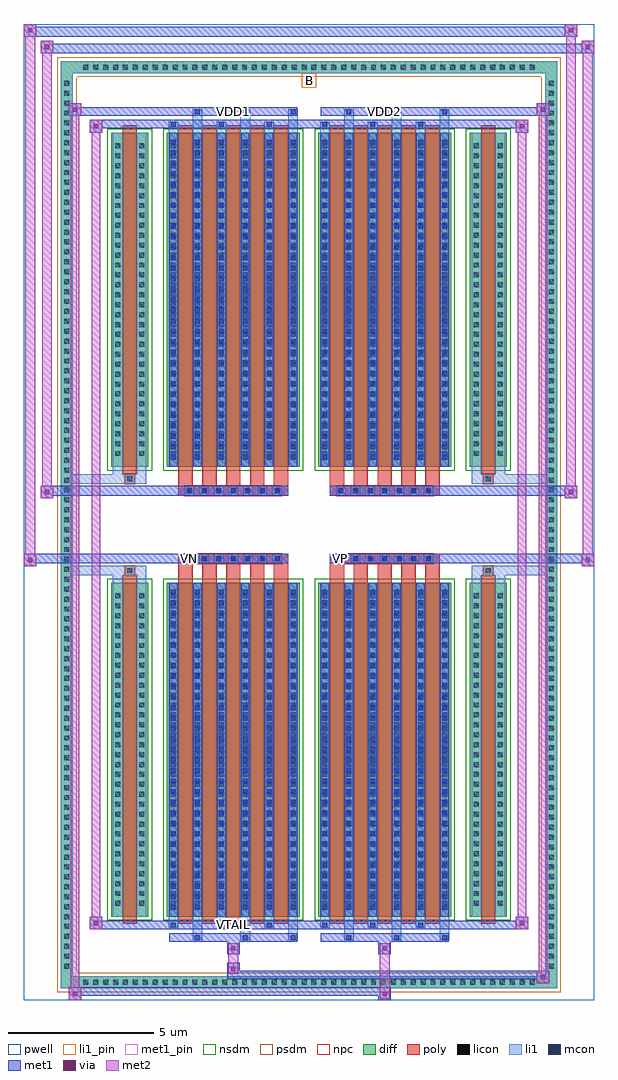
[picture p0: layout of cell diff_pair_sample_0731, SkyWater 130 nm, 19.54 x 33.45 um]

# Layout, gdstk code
import gdstk
lib = gdstk.Library(unit=1e-6, precision=5e-09)
def R(c, l, rs):  # rectangles x0, y0, x1, y1
    for r in rs: c.add(gdstk.rectangle(r[:2], r[2:], *l))
def A(c, l, x, y, w, h, nx, ny, dx, dy):  # array of equal rectangles
    R(c, l, [(x+i*dx, y+j*dy, x+i*dx+w, y+j*dy+h) for i in range(nx) for j in range(ny)])
def P(c, l, *ps):  # polygons
    for p in ps: c.add(gdstk.Polygon(p, *l))
pwell = (64, 44)
diff = (65, 20)
poly = (66, 20)
licon = (66, 44)
li1_pin = (67, 16)
li1 = (67, 20)
mcon = (67, 44)
met1_pin = (68, 16)
met1 = (68, 20)
via = (68, 44)
met2 = (69, 20)
nsdm = (93, 44)
psdm = (94, 20)
npc = (95, 20)

diff_pair_sample_0731 = lib.new_cell('diff_pair_sample_0731')
R(diff_pair_sample_0731, pwell, [(-9.77,-16.29,9.77,17.16), (-7.09,-14.48,-0.01,-0.8), (0.01,-14.48,7.09,-0.8), (-7.09,0.8,-0.01,14.48), (0.01,0.8,7.09,14.48)])
A(diff_pair_sample_0731, diff, -7.855, -15.89, 0.41, 0.41, 46, 2, 0.34, 31.37)
A(diff_pair_sample_0731, diff, -8.5, -15.335, 0.41, 0.41, 1, 90, 0, 0.34)
A(diff_pair_sample_0731, diff, 8.09, -15.335, 0.41, 0.41, 1, 90, 0, 0.34)
R(diff_pair_sample_0731, diff, [(-7.855,-15.89,7.855,-15.48), (-8.5,-15.335,-8.09,15.335), (8.09,-15.335,8.5,15.335), (-6.78,-13.435,-5.51,-1.985), (-4.87,-13.435,-0.32,-1.985), (0.32,-13.435,4.87,-1.985), (5.51,-13.435,6.78,-1.985), (-6.78,1.985,-5.51,13.435), (-4.87,1.985,-0.32,13.435), (0.32,1.985,4.87,13.435), (5.51,1.985,6.78,13.435), (-7.855,15.48,7.855,15.89)])
P(diff_pair_sample_0731, diff, [(8.5,15.89),(-8.5,15.89),(-8.5,-15.48),(-8.09,-15.48),(-8.09,15.48),(8.09,15.48),(8.09,-15.48),(-8.09,-15.48),(-8.5,-15.48),(-8.5,-15.89),(8.5,-15.89)])
A(diff_pair_sample_0731, poly, -4.48, -13.685, 0.49, 11.95, 5, 2, 0.82, 15.42)
A(diff_pair_sample_0731, poly, 0.71, -13.685, 0.49, 11.95, 5, 2, 0.82, 15.42)
A(diff_pair_sample_0731, poly, -4.48, -1.735, 0.49, 0.405, 5, 2, 0.82, 3.065)
A(diff_pair_sample_0731, poly, 0.71, -1.735, 0.49, 0.405, 5, 2, 0.82, 3.065)
A(diff_pair_sample_0731, poly, -4.26, -1.33, 0.33, 0.33, 7, 2, 0.5, 2.33)
A(diff_pair_sample_0731, poly, 0.93, -1.33, 0.33, 0.33, 7, 2, 0.5, 2.33)
R(diff_pair_sample_0731, poly, [(-6.39,-13.685,-5.9,-1.735), (5.9,-13.685,6.39,-1.735), (-6.31,-1.735,-5.98,-1.405), (-6.31,-1.735,-5.98,-1.405), (5.98,-1.735,6.31,-1.405), (5.98,-1.735,6.31,-1.405), (-4.48,-1.33,-0.71,-1), (0.71,-1.33,4.48,-1), (-4.48,1,-0.71,1.33), (0.71,1,4.48,1.33), (-6.31,1.405,-5.98,1.735), (-6.31,1.405,-5.98,1.735), (5.98,1.405,6.31,1.735), (5.98,1.405,6.31,1.735), (-6.39,1.735,-5.9,13.685), (5.9,1.735,6.39,13.685)])
A(diff_pair_sample_0731, licon, -7.735, -15.77, 0.17, 0.17, 46, 2, 0.34, 31.37)
A(diff_pair_sample_0731, licon, -8.38, -15.215, 0.17, 0.17, 1, 90, 0, 0.34)
A(diff_pair_sample_0731, licon, 8.21, -15.215, 0.17, 0.17, 1, 90, 0, 0.34)
A(diff_pair_sample_0731, licon, -6.64, -13.065, 0.17, 0.17, 1, 32, 0, 0.34)
A(diff_pair_sample_0731, licon, -5.82, -13.065, 0.17, 0.17, 1, 32, 0, 0.34)
A(diff_pair_sample_0731, licon, -4.73, -13.065, 0.17, 0.17, 6, 32, 0.82, 0.34)
A(diff_pair_sample_0731, licon, 0.46, -13.065, 0.17, 0.17, 6, 32, 0.82, 0.34)
A(diff_pair_sample_0731, licon, 5.65, -13.065, 0.17, 0.17, 1, 32, 0, 0.34)
A(diff_pair_sample_0731, licon, 6.47, -13.065, 0.17, 0.17, 1, 32, 0, 0.34)
A(diff_pair_sample_0731, licon, -4.18, -1.25, 0.17, 0.17, 7, 2, 0.5, 2.33)
A(diff_pair_sample_0731, licon, 1.01, -1.25, 0.17, 0.17, 7, 2, 0.5, 2.33)
A(diff_pair_sample_0731, licon, -6.64, 2.355, 0.17, 0.17, 1, 32, 0, 0.34)
A(diff_pair_sample_0731, licon, -5.82, 2.355, 0.17, 0.17, 1, 32, 0, 0.34)
A(diff_pair_sample_0731, licon, -4.73, 2.355, 0.17, 0.17, 6, 32, 0.82, 0.34)
A(diff_pair_sample_0731, licon, 0.46, 2.355, 0.17, 0.17, 6, 32, 0.82, 0.34)
A(diff_pair_sample_0731, licon, 5.65, 2.355, 0.17, 0.17, 1, 32, 0, 0.34)
A(diff_pair_sample_0731, licon, 6.47, 2.355, 0.17, 0.17, 1, 32, 0, 0.34)
R(diff_pair_sample_0731, licon, [(-6.23,-1.655,-6.06,-1.485), (6.06,-1.655,6.23,-1.485), (-6.23,1.485,-6.06,1.655), (6.06,1.485,6.23,1.655)])
R(diff_pair_sample_0731, li1_pin, [(-0.25,14.98,0.25,15.48)])
A(diff_pair_sample_0731, li1, -7.815, -15.85, 0.33, 0.33, 46, 2, 0.34, 31.37)
A(diff_pair_sample_0731, li1, -8.46, -15.295, 0.33, 0.33, 1, 90, 0, 0.34)
A(diff_pair_sample_0731, li1, 8.13, -15.295, 0.33, 0.33, 1, 90, 0, 0.34)
A(diff_pair_sample_0731, li1, -3.99, -14.24, 0.33, 0.805, 3, 2, 1.64, 27.675)
A(diff_pair_sample_0731, li1, -3.91, -14.24, 0.17, 0.17, 3, 2, 1.64, 28.31)
A(diff_pair_sample_0731, li1, 1.2, -14.24, 0.33, 0.805, 3, 2, 1.64, 27.675)
A(diff_pair_sample_0731, li1, 1.28, -14.24, 0.17, 0.17, 3, 2, 1.64, 28.31)
A(diff_pair_sample_0731, li1, -4.81, -13.81, 0.33, 0.375, 3, 2, 1.64, 27.245)
A(diff_pair_sample_0731, li1, -4.73, -13.81, 0.17, 0.17, 3, 2, 1.64, 27.45)
A(diff_pair_sample_0731, li1, 0.38, -13.81, 0.33, 0.375, 3, 2, 1.64, 27.245)
A(diff_pair_sample_0731, li1, 0.46, -13.81, 0.17, 0.17, 3, 2, 1.64, 27.45)
A(diff_pair_sample_0731, li1, -4.81, -13.435, 0.33, 11.45, 6, 2, 0.82, 15.42)
A(diff_pair_sample_0731, li1, 0.38, -13.435, 0.33, 11.45, 6, 2, 0.82, 15.42)
A(diff_pair_sample_0731, li1, -4.73, -13.195, 0.17, 0.17, 6, 31, 0.82, 0.36)
A(diff_pair_sample_0731, li1, -4.73, -13.195, 0.17, 10.97, 6, 2, 0.82, 15.42)
A(diff_pair_sample_0731, li1, 0.46, -13.195, 0.17, 0.17, 6, 31, 0.82, 0.36)
A(diff_pair_sample_0731, li1, 0.46, -13.195, 0.17, 10.97, 6, 2, 0.82, 15.42)
A(diff_pair_sample_0731, li1, -6.72, -13.145, 0.33, 0.33, 1, 32, 0, 0.34)
A(diff_pair_sample_0731, li1, -5.9, -13.145, 0.33, 0.33, 1, 32, 0, 0.34)
A(diff_pair_sample_0731, li1, -4.81, -13.145, 0.33, 0.33, 6, 32, 0.82, 0.34)
A(diff_pair_sample_0731, li1, 0.38, -13.145, 0.33, 0.33, 6, 32, 0.82, 0.34)
A(diff_pair_sample_0731, li1, 5.57, -13.145, 0.33, 0.33, 1, 32, 0, 0.34)
A(diff_pair_sample_0731, li1, 6.39, -13.145, 0.33, 0.33, 1, 32, 0, 0.34)
A(diff_pair_sample_0731, li1, -4.26, -1.33, 0.33, 0.33, 7, 2, 0.5, 2.33)
A(diff_pair_sample_0731, li1, 0.93, -1.33, 0.33, 0.33, 7, 2, 0.5, 2.33)
A(diff_pair_sample_0731, li1, -4.73, 2.225, 0.17, 0.17, 6, 31, 0.82, 0.36)
A(diff_pair_sample_0731, li1, 0.46, 2.225, 0.17, 0.17, 6, 31, 0.82, 0.36)
A(diff_pair_sample_0731, li1, -6.72, 2.275, 0.33, 0.33, 1, 32, 0, 0.34)
A(diff_pair_sample_0731, li1, -5.9, 2.275, 0.33, 0.33, 1, 32, 0, 0.34)
A(diff_pair_sample_0731, li1, -4.81, 2.275, 0.33, 0.33, 6, 32, 0.82, 0.34)
A(diff_pair_sample_0731, li1, 0.38, 2.275, 0.33, 0.33, 6, 32, 0.82, 0.34)
A(diff_pair_sample_0731, li1, 5.57, 2.275, 0.33, 0.33, 1, 32, 0, 0.34)
A(diff_pair_sample_0731, li1, 6.39, 2.275, 0.33, 0.33, 1, 32, 0, 0.34)
R(diff_pair_sample_0731, li1, [(-8.5,-15.89,-8.09,-15.48), (-8.5,-15.89,-8.09,-15.48), (-8.09,-15.89,8.09,-15.48), (8.09,-15.89,8.5,-15.48), (8.09,-15.89,8.5,-15.48), (-8.5,-15.48,-8.09,15.48), (8.09,-15.48,8.5,15.48), (-6.72,-13.435,-6.39,-1.985), (-5.9,-13.435,-5.57,-1.985), (5.57,-13.435,5.9,-1.985), (6.39,-13.435,6.72,-1.985), (-6.72,-1.985,-6.39,-1.405), (-5.9,-1.985,-5.57,-1.405), (5.57,-1.985,5.9,-1.405), (6.39,-1.985,6.72,-1.405), (-8.5,-1.735,-6.31,-1.405), (-6.72,-1.735,-6.31,-1.405), (-6.31,-1.735,-5.98,-1.405), (-5.98,-1.735,-5.57,-1.405), (5.57,-1.735,5.98,-1.405), (5.98,-1.735,6.31,-1.405), (5.98,-1.735,8.5,-1.405), (6.31,-1.735,6.72,-1.405), (-8.5,1.405,-6.31,1.735), (-6.72,1.405,-6.31,1.735), (-6.72,1.405,-6.39,1.985), (-6.31,1.405,-5.98,1.735), (-5.98,1.405,-5.57,1.735), (-5.9,1.405,-5.57,1.985), (5.57,1.405,5.98,1.735), (5.57,1.405,5.9,1.985), (5.98,1.405,6.31,1.735), (5.98,1.405,8.5,1.735), (6.31,1.405,6.72,1.735), (6.39,1.405,6.72,1.985), (-6.72,1.985,-6.39,13.435), (-5.9,1.985,-5.57,13.435), (5.57,1.985,5.9,13.435), (6.39,1.985,6.72,13.435), (-8.5,15.48,-8.09,15.89), (-8.5,15.48,-8.09,15.89), (-8.09,15.48,8.09,15.89), (8.09,15.48,8.5,15.89), (8.09,15.48,8.5,15.89)])
A(diff_pair_sample_0731, mcon, -3.91, -14.24, 0.17, 0.17, 3, 2, 1.64, 28.31)
A(diff_pair_sample_0731, mcon, 1.28, -14.24, 0.17, 0.17, 3, 2, 1.64, 28.31)
A(diff_pair_sample_0731, mcon, -4.73, -13.81, 0.17, 0.17, 3, 2, 1.64, 27.45)
A(diff_pair_sample_0731, mcon, 0.46, -13.81, 0.17, 0.17, 3, 2, 1.64, 27.45)
A(diff_pair_sample_0731, mcon, -4.73, -13.195, 0.17, 0.17, 6, 31, 0.82, 0.36)
A(diff_pair_sample_0731, mcon, 0.46, -13.195, 0.17, 0.17, 6, 31, 0.82, 0.36)
A(diff_pair_sample_0731, mcon, -4.18, -1.25, 0.17, 0.17, 7, 2, 0.5, 2.33)
A(diff_pair_sample_0731, mcon, 1.01, -1.25, 0.17, 0.17, 7, 2, 0.5, 2.33)
A(diff_pair_sample_0731, mcon, -4.73, 2.225, 0.17, 0.17, 6, 31, 0.82, 0.36)
A(diff_pair_sample_0731, mcon, 0.46, 2.225, 0.17, 0.17, 6, 31, 0.82, 0.36)
R(diff_pair_sample_0731, met1_pin, [(-2.73,-13.85,-2.46,-13.58), (-4.23,-1.29,-3.96,-1.02), (0.96,-1.29,1.23,-1.02), (-2.73,14.03,-2.46,14.3), (2.46,14.03,2.73,14.3)])
A(diff_pair_sample_0731, met1, -3.97, -14.3, 0.29, 0.29, 3, 2, 1.64, 28.31)
A(diff_pair_sample_0731, met1, 1.22, -14.3, 0.29, 0.29, 3, 2, 1.64, 28.31)
A(diff_pair_sample_0731, met1, -4.79, -13.87, 0.29, 0.29, 3, 2, 1.64, 27.45)
A(diff_pair_sample_0731, met1, 0.4, -13.87, 0.29, 0.29, 3, 2, 1.64, 27.45)
A(diff_pair_sample_0731, met1, -4.79, -13.435, 0.29, 11.45, 6, 2, 0.82, 15.42)
A(diff_pair_sample_0731, met1, 0.4, -13.435, 0.29, 11.45, 6, 2, 0.82, 15.42)
A(diff_pair_sample_0731, met1, -4.79, -13.255, 0.29, 0.29, 6, 31, 0.82, 0.36)
A(diff_pair_sample_0731, met1, 0.4, -13.255, 0.29, 0.29, 6, 31, 0.82, 0.36)
A(diff_pair_sample_0731, met1, -4.24, -1.31, 0.29, 0.29, 7, 2, 0.5, 2.33)
A(diff_pair_sample_0731, met1, 0.95, -1.31, 0.29, 0.29, 7, 2, 0.5, 2.33)
A(diff_pair_sample_0731, met1, -4.79, 2.165, 0.29, 0.29, 6, 31, 0.82, 0.36)
A(diff_pair_sample_0731, met1, 0.4, 2.165, 0.29, 0.29, 6, 31, 0.82, 0.36)
R(diff_pair_sample_0731, met1, [(-8.23,-16.29,-7.8,-15.86), (2.38,-16.29,2.81,-15.86), (-8.23,-16.15,2.81,-15.86), (7.8,-15.72,8.23,-15.29), (-2.81,-15.58,8.23,-15.29), (-2.81,-15.44,-2.38,-15.01), (-2.81,-14.73,-2.38,-14.3), (2.38,-14.73,2.81,-14.3), (-4.79,-14.3,-0.4,-14.01), (0.4,-14.3,4.79,-14.01), (-7.52,-13.87,-7.09,-13.44), (-7.52,-13.87,-4.79,-13.58), (-4.79,-13.87,-0.4,-13.58), (-0.4,-13.87,0.4,-13.58), (0.4,-13.87,4.79,-13.58), (4.79,-13.87,7.52,-13.58), (7.09,-13.87,7.52,-13.44), (-9.77,-1.43,-9.34,-1), (9.34,-1.43,9.77,-1), (-9.77,-1.33,-0.71,-1), (-4.48,-1.33,-0.71,-1), (0.71,-1.33,4.48,-1), (0.71,-1.33,9.77,-1), (-9.2,0.9,-8.77,1.33), (8.77,0.9,9.2,1.33), (-9.2,1,-4.48,1.33), (-4.48,1,-0.71,1.33), (0.71,1,4.48,1.33), (4.48,1,9.2,1.33), (-7.52,13.44,-7.09,13.87), (7.09,13.44,7.52,13.87), (-7.52,13.58,-4.79,13.87), (-4.79,13.58,-0.4,13.87), (-0.4,13.58,0.4,13.87), (0.4,13.58,4.79,13.87), (4.79,13.58,7.52,13.87), (-8.23,14.01,-7.8,14.44), (-8.23,14.01,-4.79,14.3), (-4.79,14.01,-0.4,14.3), (0.4,14.01,4.79,14.3), (4.79,14.01,8.23,14.3), (7.8,14.01,8.23,14.44), (-9.2,16.16,-8.77,16.59), (-9.2,16.16,-7.09,16.49), (-7.09,16.16,7.09,16.49), (7.09,16.16,9.77,16.49), (9.34,16.16,9.77,16.59), (-9.77,16.73,-9.34,17.16), (-9.77,16.73,-7.09,17.06), (-7.09,16.73,7.09,17.06), (7.09,16.73,9.2,17.06), (8.77,16.73,9.2,17.16)])
R(diff_pair_sample_0731, via, [(-8.09,-16.15,-7.94,-16), (2.52,-16.15,2.67,-16), (7.94,-15.58,8.09,-15.43), (-2.67,-15.3,-2.52,-15.15), (-2.67,-14.59,-2.52,-14.44), (2.52,-14.59,2.67,-14.44), (-7.38,-13.73,-7.23,-13.58), (7.23,-13.73,7.38,-13.58), (-9.63,-1.29,-9.48,-1.14), (9.48,-1.29,9.63,-1.14), (-9.06,1.04,-8.91,1.19), (8.91,1.04,9.06,1.19), (-7.38,13.58,-7.23,13.73), (7.23,13.58,7.38,13.73), (-8.09,14.15,-7.94,14.3), (7.94,14.15,8.09,14.3), (-9.06,16.3,-8.91,16.45), (9.48,16.3,9.63,16.45), (-9.63,16.87,-9.48,17.02), (8.91,16.87,9.06,17.02)])
R(diff_pair_sample_0731, met2, [(-8.23,-16.29,-7.8,-15.86), (-8.16,-16.29,-7.87,14.44), (-7.87,-16.29,-7.8,-15.86), (-8.18,-16.24,-7.85,-15.91), (2.43,-16.24,2.76,-15.91), (2.43,-15.91,2.76,-14.68), (7.8,-15.72,8.23,-15.29), (7.87,-15.72,8.16,14.44), (8.16,-15.72,8.23,-15.29), (7.85,-15.67,8.18,-15.34), (-2.76,-15.39,-2.43,-15.06), (-2.76,-15.06,-2.43,-14.68), (-2.76,-14.68,-2.43,-14.35), (2.43,-14.68,2.76,-14.35), (-7.52,-13.87,-7.09,-13.44), (-7.45,-13.87,-7.16,13.87), (-7.16,-13.87,-7.09,-13.44), (7.09,-13.87,7.52,-13.44), (7.16,-13.87,7.45,13.87), (7.45,-13.87,7.52,-13.44), (-7.47,-13.82,-7.14,-13.49), (7.14,-13.82,7.47,-13.49), (-9.77,-1.43,-9.34,-1), (-9.72,-1.43,-9.39,17.16), (-9.39,-1.43,-9.34,-1), (9.34,-1.43,9.77,-1), (9.39,-1.43,9.72,16.59), (9.72,-1.43,9.77,-1), (-9.72,-1.38,-9.39,-1.05), (9.39,-1.38,9.72,-1.05), (-9.2,0.9,-8.77,1.33), (-9.15,0.9,-8.82,16.59), (-8.82,0.9,-8.77,1.33), (8.77,0.9,9.2,1.33), (8.82,0.9,9.15,17.16), (9.15,0.9,9.2,1.33), (-9.15,0.95,-8.82,1.28), (8.82,0.95,9.15,1.28), (-7.52,13.44,-7.09,13.87), (-7.16,13.44,-7.09,13.87), (7.09,13.44,7.52,13.87), (7.45,13.44,7.52,13.87), (-7.47,13.49,-7.14,13.82), (7.14,13.49,7.47,13.82), (-8.23,14.01,-7.8,14.44), (-7.87,14.01,-7.8,14.44), (7.8,14.01,8.23,14.44), (8.16,14.01,8.23,14.44), (-8.18,14.06,-7.85,14.39), (7.85,14.06,8.18,14.39), (-9.2,16.16,-8.77,16.59), (-8.82,16.16,-8.77,16.59), (9.34,16.16,9.77,16.59), (9.72,16.16,9.77,16.59), (-9.15,16.21,-8.82,16.54), (9.39,16.21,9.72,16.54), (-9.77,16.73,-9.34,17.16), (-9.39,16.73,-9.34,17.16), (8.77,16.73,9.2,17.16), (9.15,16.73,9.2,17.16), (-9.72,16.78,-9.39,17.11), (8.82,16.78,9.15,17.11)])
R(diff_pair_sample_0731, nsdm, [(-6.91,-13.565,-5.38,-1.855), (-5,-13.565,-0.19,-1.855), (0.19,-13.565,5,-1.855), (5.38,-13.565,6.91,-1.855), (-6.91,1.855,-5.38,13.565), (-5,1.855,-0.19,13.565), (0.19,1.855,5,13.565), (5.38,1.855,6.91,13.565)])
P(diff_pair_sample_0731, psdm, [(8.63,16.02),(-8.63,16.02),(-8.63,-15.35),(-7.96,-15.35),(-7.96,15.35),(7.96,15.35),(7.96,-15.35),(-7.96,-15.35),(-8.63,-15.35),(-8.63,-16.02),(8.63,-16.02)])
A(diff_pair_sample_0731, npc, -4.28, -1.35, 0.37, 0.37, 7, 2, 0.5, 2.33)
A(diff_pair_sample_0731, npc, 0.91, -1.35, 0.37, 0.37, 7, 2, 0.5, 2.33)
R(diff_pair_sample_0731, npc, [(-6.33,-1.755,-5.96,-1.385), (5.96,-1.755,6.33,-1.385), (-4.28,-1.35,-3.41,-0.98), (-4.28,-1.35,-3.41,-0.98), (-3.78,-1.35,-2.91,-0.98), (-3.78,-1.35,-2.91,-0.98), (-3.28,-1.35,-2.41,-0.98), (-3.28,-1.35,-2.41,-0.98), (-2.78,-1.35,-1.91,-0.98), (-2.78,-1.35,-1.91,-0.98), (-2.28,-1.35,-1.41,-0.98), (-2.28,-1.35,-1.41,-0.98), (-1.78,-1.35,-0.91,-0.98), (-1.78,-1.35,-0.91,-0.98), (0.91,-1.35,1.78,-0.98), (0.91,-1.35,1.78,-0.98), (1.41,-1.35,2.28,-0.98), (1.41,-1.35,2.28,-0.98), (1.91,-1.35,2.78,-0.98), (1.91,-1.35,2.78,-0.98), (2.41,-1.35,3.28,-0.98), (2.41,-1.35,3.28,-0.98), (2.91,-1.35,3.78,-0.98), (2.91,-1.35,3.78,-0.98), (3.41,-1.35,4.28,-0.98), (3.41,-1.35,4.28,-0.98), (-4.28,0.98,-3.41,1.35), (-4.28,0.98,-3.41,1.35), (-3.78,0.98,-2.91,1.35), (-3.78,0.98,-2.91,1.35), (-3.28,0.98,-2.41,1.35), (-3.28,0.98,-2.41,1.35), (-2.78,0.98,-1.91,1.35), (-2.78,0.98,-1.91,1.35), (-2.28,0.98,-1.41,1.35), (-2.28,0.98,-1.41,1.35), (-1.78,0.98,-0.91,1.35), (-1.78,0.98,-0.91,1.35), (0.91,0.98,1.78,1.35), (0.91,0.98,1.78,1.35), (1.41,0.98,2.28,1.35), (1.41,0.98,2.28,1.35), (1.91,0.98,2.78,1.35), (1.91,0.98,2.78,1.35), (2.41,0.98,3.28,1.35), (2.41,0.98,3.28,1.35), (2.91,0.98,3.78,1.35), (2.91,0.98,3.78,1.35), (3.41,0.98,4.28,1.35), (3.41,0.98,4.28,1.35), (-6.33,1.385,-5.96,1.755), (5.96,1.385,6.33,1.755)])
diff_pair_sample_0731.add(gdstk.Label('VTAIL', (-2.595,-13.715), layer=68, texttype=5))
diff_pair_sample_0731.add(gdstk.Label('VN', (-4.095,-1.155), layer=68, texttype=5))
diff_pair_sample_0731.add(gdstk.Label('VP', (1.095,-1.155), layer=68, texttype=5))
diff_pair_sample_0731.add(gdstk.Label('B', (0,15.23), layer=67, texttype=5))
diff_pair_sample_0731.add(gdstk.Label('VDD2', (2.595,14.165), layer=68, texttype=5))
diff_pair_sample_0731.add(gdstk.Label('VDD1', (-2.595,14.165), layer=68, texttype=5))

lib.write_gds('diff_pair_sample_0731.gds')
